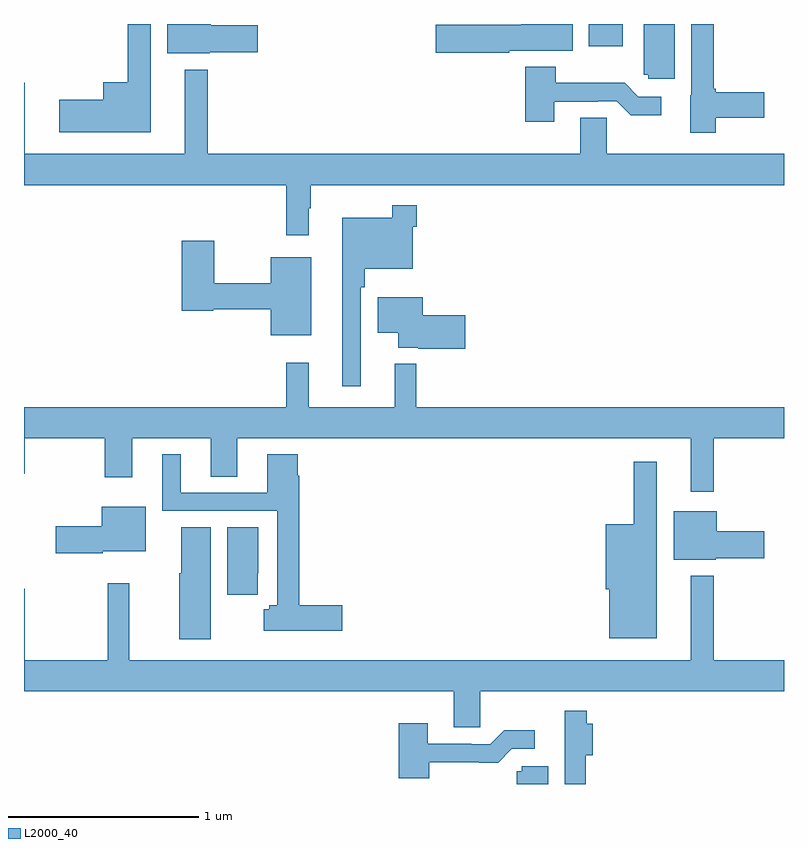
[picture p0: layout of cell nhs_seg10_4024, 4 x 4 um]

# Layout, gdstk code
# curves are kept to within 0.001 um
import gdstk
lib = gdstk.Library(unit=1e-6, precision=1e-09)
def R(c, l, rs):  # rectangles x0, y0, x1, y1
    for r in rs: c.add(gdstk.rectangle(r[:2], r[2:], *l))
def P(c, l, *ps):  # polygons
    for p in ps: c.add(gdstk.Polygon(p, *l))
L2000_40 = (2000, 40)

nhs_seg10_4024 = lib.new_cell('nhs_seg10_4024')
R(nhs_seg10_4024, L2000_40, [(335.973,1298.384,336.151,1298.5)])
P(nhs_seg10_4024, L2000_40, [(333.978,1298.351),(334.231,1298.351),(334.231,1298.493),(333.982,1298.493),(333.982,1298.5),(333.755,1298.5),(333.755,1298.345),(333.978,1298.345)],
  [(336.424,1298.5),(336.263,1298.5),(336.263,1298.232),(336.285,1298.232),(336.285,1298.211),(336.424,1298.211)],
  [(333.667,1298.5),(333.546,1298.5),(333.546,1298.194),(333.416,1298.194),(333.416,1298.102),(333.186,1298.102),(333.186,1297.931),(333.667,1297.931)],
  [(336.642,1298.006),(336.895,1298.006),(336.895,1298.141),(336.642,1298.141),(336.642,1298.159),(336.629,1298.159),(336.629,1298.5),(336.513,1298.5),(336.513,1298.124),(336.506,1298.124),(336.506,1297.928),(336.642,1297.928)],
  [(335.555,1298.36),(335.888,1298.36),(335.888,1298.498),(335.767,1298.498),(335.767,1298.5),(335.618,1298.5),(335.618,1298.495),(335.166,1298.495),(335.166,1298.348),(335.555,1298.348)],
  [(335.791,1298.091),(336.02,1298.091),(336.02,1298.094),(336.12,1298.094),(336.193,1298.021),(336.355,1298.021),(336.355,1298.118),(336.234,1298.118),(336.161,1298.191),(335.799,1298.191),(335.799,1298.275),(335.639,1298.275),(335.639,1297.986),(335.791,1297.986)],
  [(334.498,1297.529),(334.51,1297.529),(334.51,1297.652),(337,1297.652),(337,1297.816),(336.066,1297.816),(336.066,1298.006),(335.927,1298.006),(335.927,1297.816),(333.967,1297.816),(333.967,1298.26),(333.845,1298.26),(333.845,1297.816),(333.004,1297.816),(333.004,1298.191),(333,1298.191),(333,1297.652),(334.381,1297.652),(334.381,1297.389),(334.498,1297.389)],
  [(334.773,1297.115),(334.793,1297.115),(334.793,1297.211),(335.046,1297.211),(335.046,1297.433),(335.066,1297.433),(335.066,1297.546),(334.938,1297.546),(334.938,1297.48),(334.676,1297.48),(334.676,1296.594),(334.773,1296.594)],
  [(334.513,1297.273),(334.298,1297.273),(334.298,1297.136),(334,1297.136),(334,1297.36),(333.83,1297.36),(333.83,1296.992),(333.996,1296.992),(333.996,1297),(334.298,1297),(334.298,1296.863),(334.513,1296.863)],
  [(335.323,1296.968),(335.098,1296.968),(335.098,1297.063),(334.862,1297.063),(334.862,1296.875),(334.97,1296.875),(334.97,1296.797),(335.074,1296.797),(335.074,1296.792),(335.323,1296.792)],
  [(336.631,1296.32),(337,1296.32),(337,1296.484),(335.064,1296.484),(335.064,1296.712),(334.952,1296.712),(334.952,1296.484),(334.499,1296.484),(334.499,1296.718),(334.381,1296.718),(334.381,1296.484),(333,1296.484),(333,1296.132),(333.004,1296.132),(333.004,1296.32),(333.424,1296.32),(333.424,1296.114),(333.571,1296.114),(333.571,1296.32),(333.983,1296.32),(333.983,1296.118),(334.123,1296.118),(334.123,1296.32),(336.509,1296.32),(336.509,1296.039),(336.631,1296.039)],
  [(334.675,1295.441),(334.448,1295.441),(334.448,1296.122),(334.442,1296.122),(334.442,1296.235),(334.28,1296.235),(334.28,1296.033),(333.826,1296.033),(333.826,1296.235),(333.728,1296.235),(333.728,1295.937),(334.332,1295.937),(334.332,1295.44),(334.29,1295.44),(334.29,1295.42),(334.261,1295.42),(334.261,1295.306),(334.675,1295.306)],
  [(336.331,1296.196),(336.21,1296.196),(336.21,1295.866),(336.062,1295.866),(336.062,1295.526),(336.08,1295.526),(336.08,1295.267),(336.331,1295.267)],
  [(333.414,1295.726),(333.64,1295.726),(333.64,1295.959),(333.41,1295.959),(333.41,1295.856),(333.168,1295.856),(333.168,1295.714),(333.414,1295.714)],
  [(336.642,1295.687),(336.895,1295.687),(336.895,1295.829),(336.646,1295.829),(336.646,1295.935),(336.419,1295.935),(336.419,1295.681),(336.642,1295.681)],
  [(333.982,1295.852),(333.827,1295.852),(333.827,1295.61),(333.818,1295.61),(333.818,1295.262),(333.982,1295.262)],
  [(334.231,1295.608),(334.234,1295.608),(334.234,1295.852),(334.07,1295.852),(334.07,1295.496),(334.231,1295.496)],
  [(335.4,1294.988),(337,1294.988),(337,1295.152),(336.631,1295.152),(336.631,1295.596),(336.509,1295.596),(336.509,1295.152),(333.554,1295.152),(333.554,1295.557),(333.441,1295.557),(333.441,1295.152),(333.004,1295.152),(333.004,1295.527),(333,1295.527),(333,1294.988),(335.261,1294.988),(335.261,1294.798),(335.4,1294.798)],
  [(335.956,1294.651),(335.993,1294.651),(335.993,1294.816),(335.963,1294.816),(335.963,1294.885),(335.846,1294.885),(335.846,1294.662),(335.847,1294.662),(335.847,1294.5),(335.956,1294.5)],
  [(335.133,1294.614),(335.495,1294.613),(335.568,1294.686),(335.689,1294.686),(335.689,1294.783),(335.527,1294.783),(335.454,1294.71),(335.354,1294.71),(335.354,1294.713),(335.125,1294.713),(335.125,1294.819),(334.973,1294.819),(334.973,1294.529),(335.133,1294.529)],
  [(335.758,1294.593),(335.619,1294.593),(335.619,1294.566),(335.594,1294.566),(335.594,1294.5),(335.758,1294.5)])

lib.write_gds('nhs_seg10_4024.gds')
